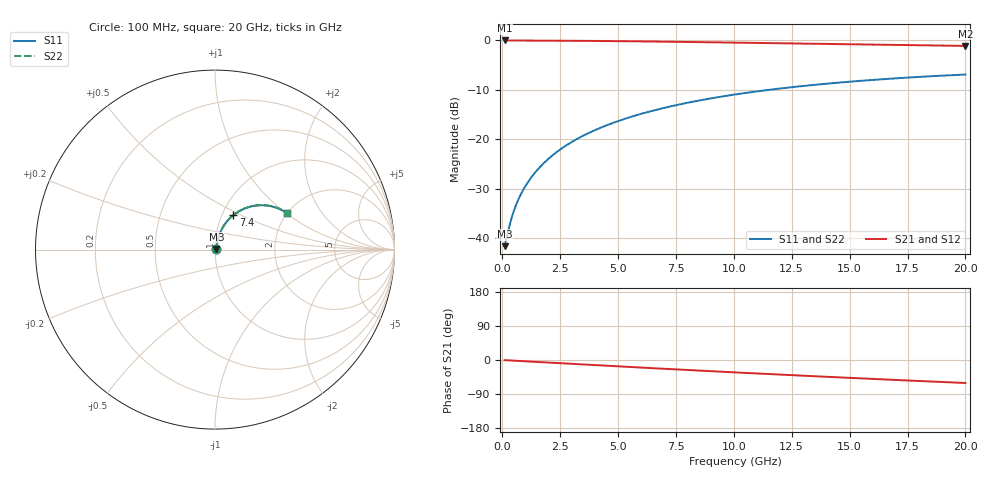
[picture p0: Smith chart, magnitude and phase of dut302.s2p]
! Touchstone file exported from HFSS 2026.1.0
!  File:  C:/ffzhzh/LocalFiles/Ansys_Project_Files/temp_train_BSMRDL_302_1783010511_53980.aedt
!  Generated:  12:43:26 AM Jul  3, 2026
!  Design:  BSMRDL
!  Project:  temp_train_BSMRDL_302_1783010511_53980
! Variables:
!  h_bsmrdl = 2.83um
!  h_ox = 20um
!  h_rdl = 5um
!  h_sub = 80um
!  h_tmrdl = 5um
!  h_tsv = 80um
!  h_via = 3um
!  l_bsmrdl = 991.27um
!  l_sub = 1391.27um
!  l_tmrdl = 200um
!  m_sub = 200um
!  pitch = 33.72um
!  r_tsv = 6um
!  s_tmrdl = 10um
!  w_bsmrdl = 16.61um
!  w_sub = 500um
!  w_tmrdl = 12um
!  x_tsv_center1 = 206um
!  x_tsv_center2 = 1213.88um
!  x_tsv_center3 = 1425.88um
!  x_tsv_center4 = 2433.76um
!  x_tsv_center5 = 2645.76um
!  x_tsv_center6 = 3653.64um
# GHz S MA R 50.000000
! Terminal data exported
! Port[1] = BSM_RDL1_1_T1
! Port[2] = BSM_RDL1_1_T2
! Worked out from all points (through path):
!   200 points, 100 MHz to 20 GHz, reference 50 ohm
!   highest |S21| = -0.07 dB at 100 MHz (marker M1); lowest = -1.2 dB at 20 GHz (marker M2)
!   group delay of S21, straight-line fit = 8.43 ps
!   lowest |S11| = -41.6 dB at 100 MHz (marker M3), VSWR 1.02, Z = 50.8 + j0.354 ohm
!   |S11| at or under -10 dB: start of sweep to 11.59 GHz
!   |S22| runs from -41.6 to -6.9 dB; largest |S21 - S12| = 1.3e-14
!   S11 on the Smith chart (normalised r, x): 100 MHz: 1.02, +0.01; 7.4 GHz: 1.13, +0.46; 20 GHz: 1.99, +1.02
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0.1  0.008299 24.9  0.9925 -0.4  0.9925 -0.4  0.008299 24.9
! Gamma 0 0 0 0
! Port Impedance 50 0 50 0
0.3  0.01308 51.4  0.992 -1.1  0.992 -1.1  0.01308 51.4
0.4  0.01594 57.5  0.9917 -1.4  0.9917 -1.4  0.01594 57.5
0.6  0.02178 64.3  0.9911 -2.1  0.9911 -2.1  0.02178 64.3
0.7  0.02472 66.4  0.9908 -2.4  0.9908 -2.4  0.02472 66.4
0.9  0.03061 69.3  0.9903 -3.1  0.9903 -3.1  0.03061 69.3
1.2  0.03951 71.9  0.9897 -4.1  0.9897 -4.1  0.03951 71.9
1.4  0.04548 72.9  0.9893 -4.8  0.9893 -4.8  0.04548 72.9
1.7  0.05449 73.7  0.9887 -5.8  0.9887 -5.8  0.05449 73.8
2.2  0.06956 74.1  0.9875 -7.5  0.9875 -7.5  0.06956 74.1
2.8  0.08761 73.7  0.9857 -9.5  0.9857 -9.5  0.08761 73.7
3.5  0.1085 72.4  0.9833 -11.8  0.9833 -11.8  0.1085 72.5
4.2  0.1291 70.8  0.9804 -14.1  0.9804 -14.1  0.1291 70.9
5  0.1522 68.8  0.9766 -16.8  0.9766 -16.8  0.1522 68.8
5.9  0.1774 66.3  0.9717 -19.7  0.9717 -19.7  0.1774 66.3
6.8  0.2019 63.7  0.9663 -22.6  0.9663 -22.6  0.2019 63.7
7.4  0.2177 61.9  0.9625 -24.5  0.9625 -24.5  0.2177 62.0
8.7  0.2505 58.1  0.9536 -28.6  0.9536 -28.6  0.2505 58.1
10.1  0.2836 54.0  0.9435 -32.9  0.9435 -32.9  0.2836 54.1
13.4  0.3521 44.6  0.9187 -42.6  0.9187 -42.6  0.3521 44.7
16.7  0.4071 35.6  0.895 -51.9  0.895 -51.9  0.4071 35.7
20  0.4494 27.1  0.8744 -60.7  0.8744 -60.7  0.4494 27.1
